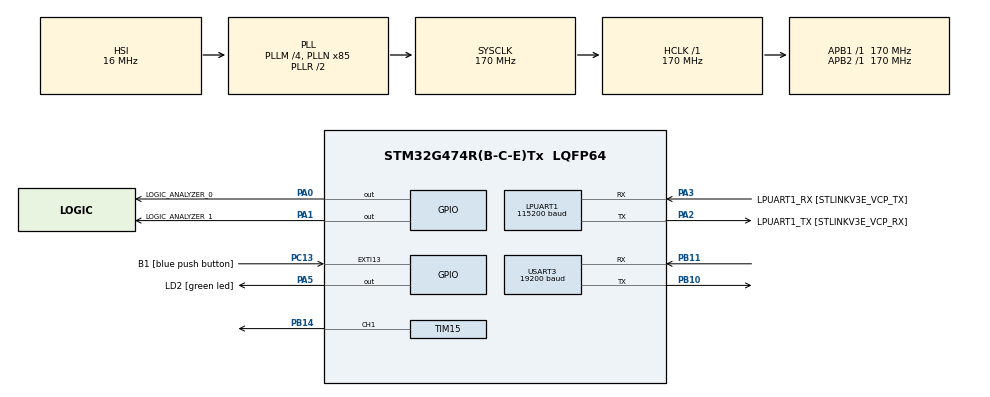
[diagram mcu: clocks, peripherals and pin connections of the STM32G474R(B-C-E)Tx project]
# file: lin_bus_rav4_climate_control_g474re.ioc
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Dma.Request0=USART3_RX
Dma.Request1=USART3_TX
Dma.Request2=TIM15_CH1
Dma.TIM15_CH1.2.Direction=DMA_PERIPH_TO_MEMORY
Dma.TIM15_CH1.2.EventEnable=DISABLE
Dma.TIM15_CH1.2.Instance=DMA1_Channel3
Dma.TIM15_CH1.2.MemDataAlignment=DMA_MDATAALIGN_HALFWORD
Dma.TIM15_CH1.2.MemInc=DMA_MINC_ENABLE
Dma.TIM15_CH1.2.Mode=DMA_CIRCULAR
Dma.TIM15_CH1.2.PeriphDataAlignment=DMA_PDATAALIGN_HALFWORD
Dma.TIM15_CH1.2.PeriphInc=DMA_PINC_DISABLE
Dma.TIM15_CH1.2.Polarity=HAL_DMAMUX_REQ_GEN_RISING
Dma.TIM15_CH1.2.Priority=DMA_PRIORITY_LOW
Dma.TIM15_CH1.2.RequestNumber=1
Dma.TIM15_CH1.2.SignalID=NONE
Dma.TIM15_CH1.2.SyncEnable=DISABLE
Dma.TIM15_CH1.2.SyncPolarity=HAL_DMAMUX_SYNC_NO_EVENT
Dma.TIM15_CH1.2.SyncRequestNumber=1
Dma.TIM15_CH1.2.SyncSignalID=NONE
Dma.USART3_RX.0.Direction=DMA_PERIPH_TO_MEMORY
Dma.USART3_RX.0.EventEnable=DISABLE
Dma.USART3_RX.0.Instance=DMA1_Channel1
Dma.USART3_RX.0.MemDataAlignment=DMA_MDATAALIGN_BYTE
Dma.USART3_RX.0.MemInc=DMA_MINC_ENABLE
Dma.USART3_RX.0.Mode=DMA_NORMAL
Dma.USART3_RX.0.PeriphDataAlignment=DMA_PDATAALIGN_BYTE
Dma.USART3_RX.0.PeriphInc=DMA_PINC_DISABLE
Dma.USART3_RX.0.Polarity=HAL_DMAMUX_REQ_GEN_RISING
Dma.USART3_RX.0.Priority=DMA_PRIORITY_LOW
Dma.USART3_RX.0.RequestNumber=1
Dma.USART3_RX.0.SignalID=NONE
Dma.USART3_RX.0.SyncEnable=DISABLE
Dma.USART3_RX.0.SyncPolarity=HAL_DMAMUX_SYNC_NO_EVENT
Dma.USART3_RX.0.SyncRequestNumber=1
Dma.USART3_RX.0.SyncSignalID=NONE
Dma.USART3_TX.1.Direction=DMA_MEMORY_TO_PERIPH
Dma.USART3_TX.1.EventEnable=DISABLE
Dma.USART3_TX.1.Instance=DMA1_Channel2
Dma.USART3_TX.1.MemDataAlignment=DMA_MDATAALIGN_BYTE
Dma.USART3_TX.1.MemInc=DMA_MINC_ENABLE
Dma.USART3_TX.1.Mode=DMA_NORMAL
Dma.USART3_TX.1.PeriphDataAlignment=DMA_PDATAALIGN_BYTE
Dma.USART3_TX.1.PeriphInc=DMA_PINC_DISABLE
Dma.USART3_TX.1.Polarity=HAL_DMAMUX_REQ_GEN_RISING
Dma.USART3_TX.1.Priority=DMA_PRIORITY_LOW
Dma.USART3_TX.1.RequestNumber=1
Dma.USART3_TX.1.SignalID=NONE
Dma.USART3_TX.1.SyncEnable=DISABLE
Dma.USART3_TX.1.SyncPolarity=HAL_DMAMUX_SYNC_NO_EVENT
Dma.USART3_TX.1.SyncRequestNumber=1
Dma.USART3_TX.1.SyncSignalID=NONE
LPUART1.BaudRate=115200
LPUART1.WordLength=UART_WORDLENGTH_8B
Mcu.Family=STM32G4
Mcu.Name=STM32G474R(B-C-E)Tx
Mcu.Package=LQFP64
NVIC.DMA1_Channel1_IRQn=true\:0\:0\:false\:false\:true\:false\:true\:true
NVIC.DMA1_Channel2_IRQn=true\:0\:0\:false\:false\:true\:false\:true\:true
NVIC.DMA1_Channel3_IRQn=true\:0\:0\:false\:false\:true\:false\:true\:true
NVIC.EXTI15_10_IRQn=true\:0\:0\:false\:false\:true\:true\:true\:true
NVIC.PriorityGroup=NVIC_PRIORITYGROUP_4
NVIC.USART3_IRQn=true\:0\:0\:false\:false\:true\:true\:true\:true
PA0.GPIO_Label=LOGIC_ANALYZER_0
PA0.Signal=GPIO_Output
PA1.GPIO_Label=LOGIC_ANALYZER_1
PA1.Signal=GPIO_Output
PA13.GPIO_Label=T_SWDIO
PA13.Mode=Serial_Wire
PA13.Signal=SYS_JTMS-SWDIO
PA14.GPIO_Label=T_SWCLK
PA14.Mode=Serial_Wire
PA14.Signal=SYS_JTCK-SWCLK
PA2.GPIO_Label=LPUART1_TX [STLINKV3E_VCP_RX]
PA2.Mode=Asynchronous
PA2.Signal=LPUART1_TX
PA3.GPIO_Label=LPUART1_RX [STLINKV3E_VCP_TX]
PA3.Mode=Asynchronous
PA3.Signal=LPUART1_RX
PA5.GPIO_Label=LD2 [green led]
PA5.Signal=GPIO_Output
PB10.Mode=LIN
PB10.Signal=USART3_TX
PB11.GPIO_PuPd=GPIO_PULLUP
PB11.Mode=LIN
PB11.Signal=USART3_RX
PB14.Signal=S_TIM15_CH1
PB3.GPIO_Label=T_SWO
PB3.Signal=SYS_JTDO-SWO
PC13.GPIO_Label=B1 [blue push button]
PC13.Signal=GPXTI13
PC14-OSC32_IN.Mode=LSE-External-Oscillator
PC14-OSC32_IN.Signal=RCC_OSC32_IN
PC15-OSC32_OUT.Mode=LSE-External-Oscillator
PC15-OSC32_OUT.Signal=RCC_OSC32_OUT
PF0-OSC_IN.Mode=HSE-External-Oscillator
PF0-OSC_IN.Signal=RCC_OSC_IN
PF1-OSC_OUT.Mode=HSE-External-Oscillator
PF1-OSC_OUT.Signal=RCC_OSC_OUT
ProjectManager.HeapSize=0x200
ProjectManager.StackSize=0x400
ProjectManager.TargetToolchain=STM32CubeIDE
RCC.ADC12Freq_Value=170000000
RCC.ADC345Freq_Value=170000000
RCC.AHBFreq_Value=170000000
RCC.APB1Freq_Value=170000000
RCC.APB1TimFreq_Value=170000000
RCC.APB2Freq_Value=170000000
RCC.APB2TimFreq_Value=170000000
RCC.CortexFreq_Value=170000000
RCC.EXTERNAL_CLOCK_VALUE=12288000
RCC.HCLKFreq_Value=170000000
RCC.HSE_VALUE=24000000
RCC.HSI48_VALUE=48000000
RCC.HSI_VALUE=16000000
RCC.PLLM=RCC_PLLM_DIV4
RCC.PLLN=85
RCC.RTCClockSelection=RCC_RTCCLKSOURCE_LSE
RCC.SYSCLKFreq_VALUE=170000000
RCC.SYSCLKSource=RCC_SYSCLKSOURCE_PLLCLK
RCC.USBFreq_Value=170000000
RCC.VCOOutputFreq_Value=340000000
SH.S_TIM15_CH1.0=TIM15_CH1,PWM Generation1 CH1
TIM15.Channel-PWM\ Generation1\ CH1=TIM_CHANNEL_1
TIM15.PeriodNoDither=1000-1
TIM15.Prescaler=170-1
USART3.BaudRate=19200
USART3.Mode=MODE_TX_RX
USART3.VirtualMode-LIN=VM_LIN
VP_SYS_VS_DBSignals.Mode=DisableDeadBatterySignals
VP_TIM15_VS_ClockSourceINT.Mode=Internal
board=NUCLEO-G474RE

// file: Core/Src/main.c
/* USER CODE BEGIN Header */
/**
 ******************************************************************************
 * @file           : main.c
 * @brief          : Main program body
 ******************************************************************************
 * @attention
 *
 * Copyright (c) 2024 STMicroelectronics.
 * All rights reserved.
 *
 * This software is licensed under terms that can be found in the LICENSE file
 * in the root directory of this software component.
 * If no LICENSE file comes with this software, it is provided AS-IS.
 *
 ******************************************************************************
 */
/* USER CODE END Header */
#include "main.h"
#include "dma.h"
#include "usart.h"
#include "tim.h"
#include "gpio.h"

/* USER CODE BEGIN Includes */
#include <string.h>
/* USER CODE END Includes */

/* USER CODE BEGIN PD */
#define LIN_SEND_PERIOD 100
#define RX_TX_BUFFER_SIZE 12 // if you can make it work for >12, please share your solution with me :)
#define FAN_POWER_MAX 7
/* USER CODE END PD */

void SystemClock_Config(void);
/* USER CODE BEGIN PFP */

void Process_Received_LIN_Data(void);

// https://controllerstech.com/stm32-uart-8-lin-protocol-part-1/
// https://controllerstech.com/stm32-uart-9-lin-protocol-part-2/
// https://controllerstech.com/stm32-uart-10-lin-protocol-part-3/
uint8_t Pid_Calc(uint8_t ID);
uint8_t Checksum_Calc(uint8_t PID, uint8_t *data, uint8_t size);

/* USER CODE END PFP */

/* USER CODE BEGIN 0 */
uint8_t LeftSideTemp = 0xD;
uint8_t RightSideTemp = 0xD;
uint8_t RearDefrost;
uint8_t FanPower = 0;
uint32_t FanPwmDuty = 1000; //out of 1000
uint8_t TxData[RX_TX_BUFFER_SIZE];
uint8_t RxData[RX_TX_BUFFER_SIZE];
uint8_t RxDataPrevious[RX_TX_BUFFER_SIZE];
volatile uint8_t lin_data_received_flag = 0;
extern DMA_HandleTypeDef hdma_usart3_rx;

uint32_t LinSendSoftTimer;

/* USER CODE END 0 */

int main(void)
{

	/* MCU Configuration--------------------------------------------------------*/

	/* Reset of all peripherals, Initializes the Flash interface and the Systick. */
	HAL_Init();

	/* Configure the system clock */
	SystemClock_Config();

	/* Initialize all configured peripherals */
	MX_GPIO_Init();
	MX_DMA_Init();
	MX_LPUART1_UART_Init();
	MX_USART3_UART_Init();
	MX_TIM15_Init();
	/* USER CODE BEGIN 2 */

	LinSendSoftTimer = HAL_GetTick();

	/* USER CODE END 2 */

	/* Infinite loop */
	/* USER CODE BEGIN WHILE */
	while (1)
	{
		if (lin_data_received_flag == 1)
		{
			lin_data_received_flag = 0;
			Process_Received_LIN_Data();
		}

		if (HAL_GetTick() - LinSendSoftTimer > LIN_SEND_PERIOD)
		{
			LinSendSoftTimer = HAL_GetTick();

			// send status
			TxData[0] = 0x55;  // sync field
			TxData[1] = 0xB1;  // Pid_Calc(0x31);

			TxData[2] = 0x80;
			TxData[3] = (0x20 | (FanPower & 0x0F));
			TxData[4] = 0x14;
			TxData[5] = (0x40 & (0xFF * RearDefrost));
			TxData[6] = LeftSideTemp;
			TxData[7] = RightSideTemp;
			TxData[8] = 0x00;
			TxData[9] = 0xc1;  // data byte 7

			TxData[10] = Checksum_Calc(TxData[1], TxData + 2, 8); // lin 2.1 includes PID

			HAL_LIN_SendBreak(&huart3);
			HAL_UART_Transmit(&huart3, TxData, 11, 100);

			FanPwmDuty = 800 * FanPower / FAN_POWER_MAX
					+ (200 * (FanPower != 0));
			HAL_TIM_PWM_Start_DMA(&htim15, TIM_CHANNEL_1, &FanPwmDuty, 1);

			HAL_Delay(1);

			// ask for buttons and knobs
			TxData[0] = 0x55;  // sync field
			TxData[1] = 0x39;  // Pid_Calc(0x39);

			TxData[2] = Checksum_Calc(TxData[1], TxData + 2, 0); // lin 2.1 includes PID

			memset(RxData, 0x00, RX_TX_BUFFER_SIZE);
			HAL_UARTEx_ReceiveToIdle_DMA(&huart3, RxData, RX_TX_BUFFER_SIZE);
			__HAL_DMA_DISABLE_IT(&hdma_usart3_rx, DMA_IT_HT);

			HAL_LIN_SendBreak(&huart3);
			HAL_UART_Transmit_DMA(&huart3, TxData, 2);

			HAL_GPIO_WritePin(LOGIC_ANALYZER_1_GPIO_Port, LOGIC_ANALYZER_1_Pin,
					GPIO_PIN_RESET);
			HAL_GPIO_WritePin(LOGIC_ANALYZER_0_GPIO_Port, LOGIC_ANALYZER_0_Pin,
					GPIO_PIN_RESET);

			HAL_GPIO_TogglePin(LD2_GPIO_Port, LD2_Pin);
		}

		/* USER CODE END WHILE */

	}
}

void SystemClock_Config(void)
{
	RCC_OscInitTypeDef RCC_OscInitStruct =
	{ 0 };
	RCC_ClkInitTypeDef RCC_ClkInitStruct =
	{ 0 };

	/** Configure the main internal regulator output voltage
	 */
	HAL_PWREx_ControlVoltageScaling(PWR_REGULATOR_VOLTAGE_SCALE1_BOOST);

	/** Initializes the RCC Oscillators according to the specified parameters
	 * in the RCC_OscInitTypeDef structure.
	 */
	RCC_OscInitStruct.OscillatorType = RCC_OSCILLATORTYPE_HSI;
	RCC_OscInitStruct.HSIState = RCC_HSI_ON;
	RCC_OscInitStruct.HSICalibrationValue = RCC_HSICALIBRATION_DEFAULT;
	RCC_OscInitStruct.PLL.PLLState = RCC_PLL_ON;
	RCC_OscInitStruct.PLL.PLLSource = RCC_PLLSOURCE_HSI;
	RCC_OscInitStruct.PLL.PLLM = RCC_PLLM_DIV4;
	RCC_OscInitStruct.PLL.PLLN = 85;
	RCC_OscInitStruct.PLL.PLLP = RCC_PLLP_DIV2;
	RCC_OscInitStruct.PLL.PLLQ = RCC_PLLQ_DIV2;
	RCC_OscInitStruct.PLL.PLLR = RCC_PLLR_DIV2;
	if (HAL_RCC_OscConfig(&RCC_OscInitStruct) != HAL_OK)
	{
		Error_Handler();
	}

	/** Initializes the CPU, AHB and APB buses clocks
	 */
	RCC_ClkInitStruct.ClockType = RCC_CLOCKTYPE_HCLK | RCC_CLOCKTYPE_SYSCLK
			| RCC_CLOCKTYPE_PCLK1 | RCC_CLOCKTYPE_PCLK2;
	RCC_ClkInitStruct.SYSCLKSource = RCC_SYSCLKSOURCE_PLLCLK;
	RCC_ClkInitStruct.AHBCLKDivider = RCC_SYSCLK_DIV1;
	RCC_ClkInitStruct.APB1CLKDivider = RCC_HCLK_DIV1;
	RCC_ClkInitStruct.APB2CLKDivider = RCC_HCLK_DIV1;

	if (HAL_RCC_ClockConfig(&RCC_ClkInitStruct, FLASH_LATENCY_4) != HAL_OK)
	{
		Error_Handler();
	}
}

/* USER CODE BEGIN 4 */
void HAL_UART_TxCpltCallback(UART_HandleTypeDef *huart)
{
	if (huart->Instance == USART3)
	{
		;
	}
}

void HAL_UART_RxCpltCallback(UART_HandleTypeDef *huart)
{
	if (huart->Instance == USART3)
	{
		lin_data_received_flag = 1;
		HAL_GPIO_WritePin(LOGIC_ANALYZER_1_GPIO_Port, LOGIC_ANALYZER_1_Pin,
				GPIO_PIN_SET);
	}
}

void HAL_UARTEx_RxEventCallback(UART_HandleTypeDef *huart, uint16_t Size) // never called :(
{
	if (huart->Instance == USART3)
	{
		lin_data_received_flag = 1;
		HAL_GPIO_WritePin(LOGIC_ANALYZER_0_GPIO_Port, LOGIC_ANALYZER_0_Pin,
				GPIO_PIN_SET);
	}
}

void Process_Received_LIN_Data(void)
{
	//right knob
	if (RxData[8] == 0x91)
	{
		RightSideTemp++;
	}
	else if (RxData[8] == 0x92)
	{
		RightSideTemp += 2;

	}
	else if (RxData[8] == 0x93)
	{
		RightSideTemp += 3;
	}

	if (RxData[8] == 0x8F)
	{
		RightSideTemp--;
	}
	else if (RxData[8] == 0x8E)
	{
		RightSideTemp -= 2;

	}
	else if (RxData[8] == 0x8D)
	{
		RightSideTemp -= 3;
	}

	//left knob
	if (RxData[7] == 0x11)
	{
		LeftSideTemp++;
	}
	else if (RxData[7] == 0x12)
	{
		LeftSideTemp += 2;

	}
	else if (RxData[7] == 0x13)
	{
		LeftSideTemp += 3;
	}

	if (RxData[7] == 0x0F)
	{
		LeftSideTemp--;
	}
	else if (RxData[7] == 0x0E)
	{
		LeftSideTemp -= 2;

	}
	else if (RxData[7] == 0x0D)
	{
		LeftSideTemp -= 3;
	}

	// front defrost
	if ((RxData[6] == 0x40) && (RxDataPrevious[6] == 0x00))
	{

		RearDefrost ^= 1;
	}

	// fun speed
	if ((RxData[4] == 0x3D) && (RxDataPrevious[4] == 0x00) && (FanPower > 0))
	{

		FanPower--;
	}
	else if ((RxData[4] == 0x3C) && (RxDataPrevious[4] == 0x00)
			&& (FanPower < FAN_POWER_MAX))
	{
		FanPower++;
	}

	memcpy(RxDataPrevious, RxData, RX_TX_BUFFER_SIZE);
}

uint8_t Pid_Calc(uint8_t ID)
{
	if (ID > 0x3F)
		Error_Handler();
	uint8_t IDBuf[6];
	for (int i = 0; i < 6; i++)
	{
		IDBuf[i] = (ID >> i) & 0x01;
	}

	uint8_t P0 = (IDBuf[0] ^ IDBuf[1] ^ IDBuf[2] ^ IDBuf[4]) & 0x01;
	uint8_t P1 = ~((IDBuf[1] ^ IDBuf[3] ^ IDBuf[4] ^ IDBuf[5]) & 0x01);

	ID = ID | (P0 << 6) | (P1 << 7);
	return ID;
}

uint8_t Checksum_Calc(uint8_t PID, uint8_t *data, uint8_t size)
{
	uint8_t buffer[size + 2];
	uint16_t sum = 0;
	buffer[0] = PID;
	for (int i = 0; i < size; i++)
	{
		buffer[i + 1] = data[i];
	}

	for (int i = 0; i < size + 1; i++)
	{
		sum = sum + buffer[i];
		if (sum > 0xff)
			sum = sum - 0xff;
	}

	sum = 0xff - sum;
	return sum;
}
/* USER CODE END 4 */

void Error_Handler(void)
{
	__disable_irq();
	while (1)
	{
	}
}
